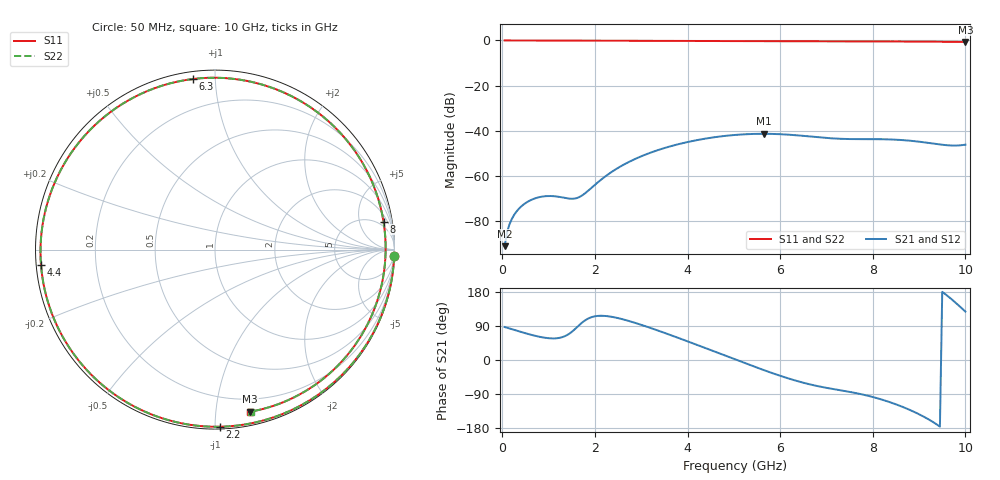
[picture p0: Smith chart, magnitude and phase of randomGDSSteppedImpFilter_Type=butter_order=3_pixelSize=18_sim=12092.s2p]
! freq	dB(S11)	phase(S11)	dB(S12)	phase(S12)
!  dB(S21)	phase(S21)	dB(S22)	phase(S22)
!S-par simulation data
#  GHz  S  DB  R 50
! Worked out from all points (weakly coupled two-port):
!   200 points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, 50 MHz to 10 GHz, reference 50 ohm
!   highest |S21| = -41.29 dB at 5.65 GHz (marker M1); lowest = -91.0 dB at 50 MHz (marker M2)
!   lowest |S11| = -0.7 dB at 10 GHz (marker M3), VSWR 25.36, Z = 4.99 - j61.7 ohm
!   |S11| at or under -10 dB: nowhere
!   |S22| runs from -0.7 to 0.0 dB; largest |S21 - S12| = 0
!   S11 on the Smith chart (normalised r, x): 50 MHz: 1, -54; 2.2 GHz: 0.01, -1.03; 4.4 GHz: 0.01, -0.04; 6.3 GHz: 0.04, +0.88; 8 GHz: 3, +11; 10 GHz: 0.10, -1.23
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0.05  -0.01 -2.1  -90.99 87.0  -90.99 87.0  -0.01 -2.1
0.15  -0.01 -6.2  -81.62 83.5  -81.62 83.5  -0.01 -6.2
0.4  -0.02 -16.5  -73.58 74.2  -73.58 74.2  -0.02 -16.5
0.7  -0.03 -28.8  -69.90 64.1  -69.90 64.1  -0.03 -28.8
1.05  -0.05 -43.0  -68.81 57.1  -68.81 57.1  -0.05 -43.0
1.55  -0.08 -63.0  -69.97 79.4  -69.97 79.4  -0.08 -63.0
1.75  -0.09 -70.9  -68.18 101.3  -68.18 101.3  -0.09 -70.9
2.2  -0.11 -88.5  -60.51 116.5  -60.51 116.5  -0.11 -88.5
2.8  -0.14 -111.7  -53.07 100.6  -53.07 100.6  -0.14 -111.6
3.4  -0.17 -134.9  -48.24 76.1  -48.24 76.1  -0.17 -134.8
3.9  -0.20 -154.6  -45.40 53.8  -45.40 53.8  -0.20 -154.5
4.4  -0.24 -174.9  -43.37 30.8  -43.37 30.8  -0.24 -174.8
5.05  -0.28 157.2  -41.76 0.5  -41.76 0.5  -0.28 157.3
5.65  -0.33 129.5  -41.29 -26.8  -41.29 -26.8  -0.33 129.7
6.3  -0.37 97.3  -41.85 -53.2  -41.85 -53.2  -0.37 97.5
6.7  -0.39 76.6  -42.59 -66.0  -42.59 -66.0  -0.39 76.9
7.4  -0.41 39.9  -43.57 -82.0  -43.57 -82.0  -0.41 40.2
8  -0.43 9.4  -43.66 -97.6  -43.66 -97.6  -0.43 9.7
8.35  -0.45 -7.5  -43.77 -110.5  -43.77 -110.5  -0.45 -7.2
8.75  -0.48 -26.0  -44.25 -129.1  -44.25 -129.1  -0.48 -25.6
9.2  -0.53 -45.5  -45.31 -156.3  -45.31 -156.3  -0.53 -45.1
10  -0.69 -77.8  -46.09 127.8  -46.09 127.8  -0.68 -77.4
